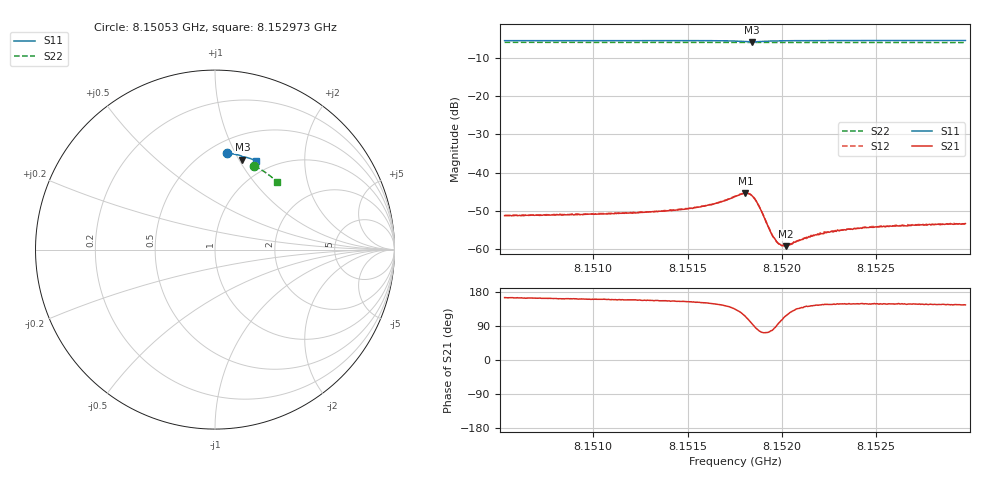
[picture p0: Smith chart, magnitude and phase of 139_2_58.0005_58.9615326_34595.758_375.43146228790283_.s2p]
#  HZ  S  RI  R  50.00
! Rohde & Schwarz Vector Network Analyzer
! Rohde-Schwarz,ZNB20-2Port,1311601062101988,3.16
! Created: UTC 3/21/2024, 12:56:27 AM
! freq[Hz]  re:S11  im:S11  re:S21  im:S21  re:S12  im:S12  re:S22  im:S22
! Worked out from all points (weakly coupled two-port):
!   401 points, 8.15053 GHz to 8.152973 GHz, reference 50 ohm
!   highest |S21| = -45.45 dB at 8.151807 GHz (marker M1); lowest = -59.4 dB at 8.15202 GHz (marker M2)
!   lowest |S11| = -5.6 dB at 8.151843 GHz (marker M3), VSWR 3.19, Z = 37.5 + j51.7 ohm
!   |S11| at or under -10 dB: nowhere
!   |S22| runs from -5.8 to -5.8 dB; largest |S21 - S12| = 0.00012
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8.1505304e9  0.0693 0.5372  -0.00261 0.000718  -0.00263 0.000778  0.22 0.4655
8.1509395e9  0.0982 0.5334  -0.00265 0.000904  -0.00269 0.000953  0.2434 0.4533
8.1513487e9  0.1273 0.5275  -0.00283 0.00124  -0.00283 0.0013  0.2659 0.4398
8.1515807e9  0.1452 0.5223  -0.00317 0.00172  -0.00313 0.00179  0.2785 0.4315
8.1516723e9  0.1529 0.5184  -0.00338 0.00229  -0.00337 0.00233  0.2834 0.4279
8.1517517e9  0.1596 0.5116  -0.00337 0.00348  -0.00334 0.0035  0.2876 0.425
8.1518066e9  0.1592 0.5029  -0.00227 0.00484  -0.00223 0.0049  0.2902 0.4227
8.151825e9  0.1566 0.5005  -0.0014 0.00507  -0.00133 0.00512  0.2909 0.422
8.1518433e9  0.153 0.5001  -0.000412 0.00489  -0.000349 0.00495  0.2916 0.4214
8.1518616e9  0.1497 0.5019  0.000402 0.00429  0.00046 0.00429  0.2926 0.4209
8.1518799e9  0.1483 0.5052  0.000821 0.00348  0.000848 0.0035  0.2933 0.4203
8.151941e9  0.1524 0.5134  0.000368 0.0016  0.000426 0.00162  0.2967 0.4183
8.1519593e9  0.1544 0.5145  0.000152 0.00138  0.000176 0.00135  0.2975 0.4178
8.1519898e9  0.1581 0.5153  -0.000212 0.00112  -0.000205 0.0011  0.2992 0.4165
8.1520204e9  0.1612 0.5157  -0.000473 0.000965  -0.000475 0.001  0.301 0.4154
8.1520509e9  0.1643 0.5157  -0.000705 0.000925  -0.000687 0.000903  0.3026 0.4143
8.1521608e9  0.1739 0.5143  -0.00116 0.000875  -0.00117 0.00091  0.3082 0.4099
8.1522158e9  0.1781 0.5132  -0.00131 0.000867  -0.00133 0.000896  0.3111 0.4078
8.1523074e9  0.1849 0.5111  -0.00147 0.000909  -0.00147 0.000925  0.3156 0.404
8.1524844e9  0.1974 0.5072  -0.00161 0.001  -0.00165 0.00102  0.3243 0.3969
8.1525699e9  0.2033 0.5052  -0.00168 0.00104  -0.00164 0.00106  0.3283 0.3933
8.152973e9  0.2298 0.4944  -0.00175 0.00121  -0.00176 0.00123  0.3473 0.3759
